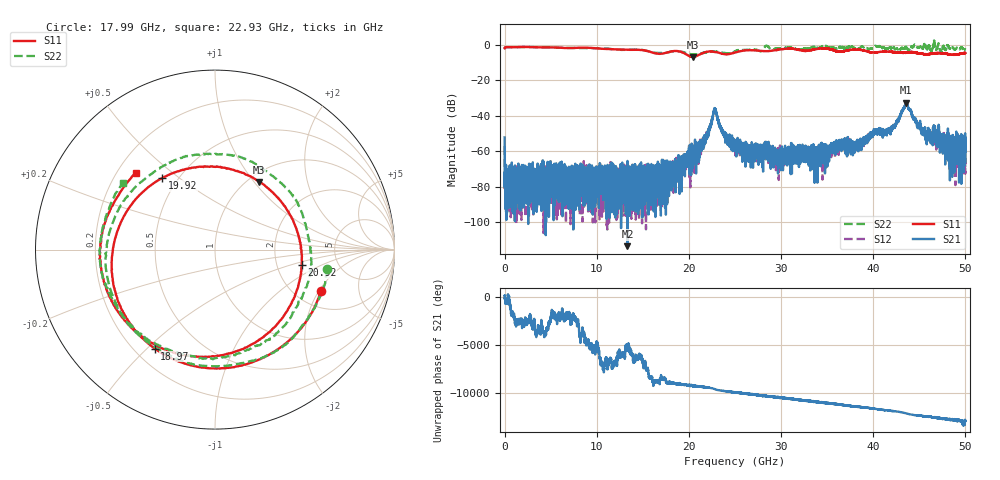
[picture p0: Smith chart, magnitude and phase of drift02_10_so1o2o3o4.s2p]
!Created with skrf (http://scikit-rf.org).
# Hz S RI R 50.0
!freq ReS11 ImS11 ReS21 ImS21 ReS12 ImS12 ReS22 ImS22
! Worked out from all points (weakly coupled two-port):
!   10001 points, 300 kHz to 50 GHz, reference 50 ohm
!   highest |S21| = -32.69 dB at 43.59 GHz (marker M1); lowest = -113.5 dB at 13.33 GHz (marker M2)
!   lowest |S11| = -6.9 dB at 20.41 GHz (marker M3), VSWR 2.63, Z = 55.9 + j52.9 ohm
!   |S11| at or under -10 dB: nowhere
!   |S22| runs from -5.7 to 2.3 dB; largest |S21 - S12| = 0.0029
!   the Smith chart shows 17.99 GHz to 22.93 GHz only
!   S11 on the Smith chart (normalised r, x): 17.99 GHz: 2.71, -2.08; 18.97 GHz: 0.28, -0.53; 19.92 GHz: 0.41, +0.44; 20.92 GHz: 2.76, -0.63; 22.93 GHz: 0.27, +0.38
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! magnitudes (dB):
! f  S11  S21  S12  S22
! 300 kHz  -2.1  -52.3  -57.2  -2.1
! 255.3 MHz  -1.4  -94.9  -84.2  -1.4
! 8.335 GHz  -1.7  -71.3  -96.3  -1.9
! 13.33 GHz  -2.9  -113.5  -77.8  -2.9
! 16.67 GHz  -5.2  -77.0  -70.3  -4.7
! 17.99 GHz  -4.0  -72.4  -68.5  -4.0
! 18.97 GHz  -3.8  -68.5  -68.6  -3.9
! 19.92 GHz  -6.1  -62.9  -64.4  -5.2
! 20.41 GHz  -6.9  -69.7  -63.7  -5.4
! 20.92 GHz  -6.2  -56.7  -58.5  -5.6
! 22.93 GHz  -4.2  -37.2  -37.5  -4.0
! 23.83 GHz  -5.4  -51.8  -49.9  -4.6
! 25 GHz  -4.5  -56.5  -56.4  -3.9
! 29.64 GHz  -2.9  -67.7  -59.8  -2.1
! 33.34 GHz  -3.0  -57.4  -64.6  -1.6
! 38.09 GHz  -2.8  -56.5  -57.4  -2.3
! 40.38 GHz  -4.3  -48.9  -48.4  -0.9
! 41.67 GHz  -4.0  -48.2  -48.3  -1.9
! 43.59 GHz  -4.6  -32.7  -33.6  -1.6
! 45.68 GHz  -5.5  -50.1  -49.5  -0.6
! 48.55 GHz  -5.6  -56.5  -55.8  -1.5
! 50 GHz  -4.7  -53.1  -58.2  -2.7
